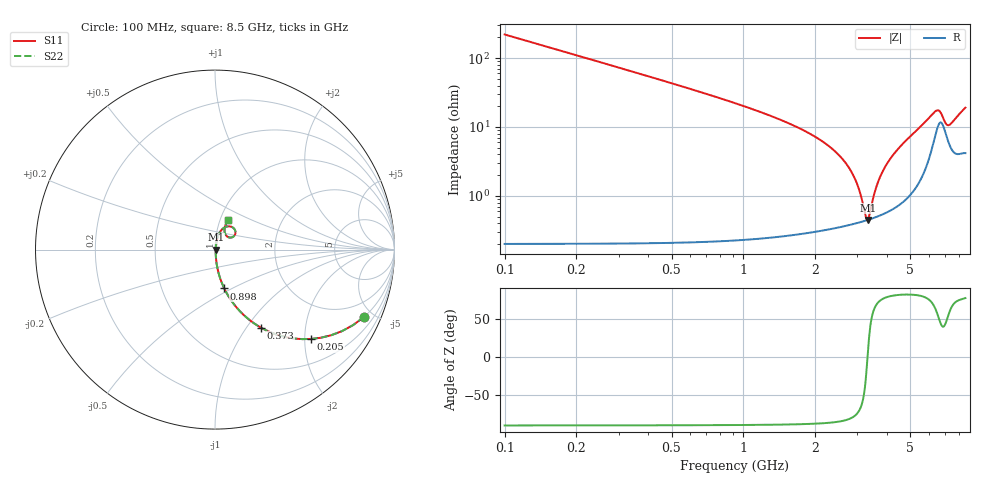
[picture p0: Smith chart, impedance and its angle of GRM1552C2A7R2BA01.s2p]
!Murata Part Number: GRM1552C2A7R2BA01
!These Parameters are Measured in Series Mode Connection
!Data Generated on Mar 30, 2021
!  o--ll--o
!Port1  Port2
!  o------o
!Operation Temp=25[degC], DC Bias Voltage=0[V]
!Freq. Start=100[MHz] Stop=9[GHz] 401[Steps]
# Hz S RI R 50
!Freq.(Hz) S11(Real) S11(Imag) S21(Real) S21(Imag) S12(Real) S12(Imag) S22(Real) S22(Imag)
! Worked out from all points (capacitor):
!   401 points, 100 MHz to 8.5 GHz, reference 50 ohm
!   read as one part in series: C = 7.2 pF near 142 MHz
!   lowest |Z| = 447 mohm at 3.313 GHz (marker M1)
!   series resonance near 3.308 GHz, so ESL is about 320 pH
!   S11 on the Smith chart (normalised r, x): 100 MHz: 1.00, -4.42; 205 MHz: 1.00, -2.15; 373 MHz: 1.00, -1.17; 898 MHz: 1.00, -0.46; 8.5 GHz: 1.08, +0.37
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1e8  0.8296 -0.3755  0.1704 0.3755  0.1704 0.3755  0.8296 -0.3755
2.05e8  0.5357 -0.4978  0.4642 0.4978  0.4642 0.4978  0.5357 -0.4978
2.89e8  0.3661 -0.4804  0.6339 0.4804  0.6339 0.4804  0.3661 -0.4804
3.73e8  0.2561 -0.4347  0.7439 0.4347  0.7439 0.4347  0.2561 -0.4347
5.83e8  0.1207 -0.323  0.8793 0.323  0.8793 0.323  0.1207 -0.323
8.98e8  0.0518 -0.2167  0.9482 0.2167  0.9482 0.2167  0.0518 -0.2167
1.507e9  0.0162 -0.1156  0.9838 0.1156  0.9838 0.1156  0.0162 -0.1156
2.41e9  0.00535 -0.0443  0.9947 0.0443  0.9947 0.0443  0.00535 -0.0443
2.704e9  0.00448 -0.0283  0.9955 0.0283  0.9955 0.0283  0.00448 -0.0283
2.914e9  0.00424 -0.0179  0.9958 0.0179  0.9958 0.0179  0.00424 -0.0179
3.082e9  0.00422 -0.0101  0.9958 0.0101  0.9958 0.0101  0.00422 -0.0101
3.25e9  0.00436 -0.00255  0.9956 0.00255  0.9956 0.00255  0.00436 -0.00255
3.313e9  0.00444 0.0002  0.9956 -0.0002  0.9956 -0.0002  0.00444 0.0002
3.355e9  0.00451 0.00201  0.9955 -0.00201  0.9955 -0.00201  0.00451 0.00201
3.565e9  0.00497 0.0109  0.995 -0.0109  0.995 -0.0109  0.00497 0.0109
3.712e9  0.00541 0.017  0.9946 -0.017  0.9946 -0.017  0.00541 0.017
3.964e9  0.00641 0.0273  0.9936 -0.0273  0.9936 -0.0273  0.00641 0.0273
4.3e9  0.00829 0.0409  0.9917 -0.0409  0.9917 -0.0409  0.00829 0.0409
5.707e9  0.0331 0.106  0.9669 -0.106  0.9669 -0.106  0.0331 0.106
6.484e9  0.1035 0.1197  0.8965 -0.1197  0.8965 -0.1197  0.1035 0.1197
7.114e9  0.0711 0.0707  0.9289 -0.0707  0.9289 -0.0707  0.0711 0.0707
8.5e9  0.0699 0.1664  0.9301 -0.1664  0.9301 -0.1664  0.0699 0.1664
